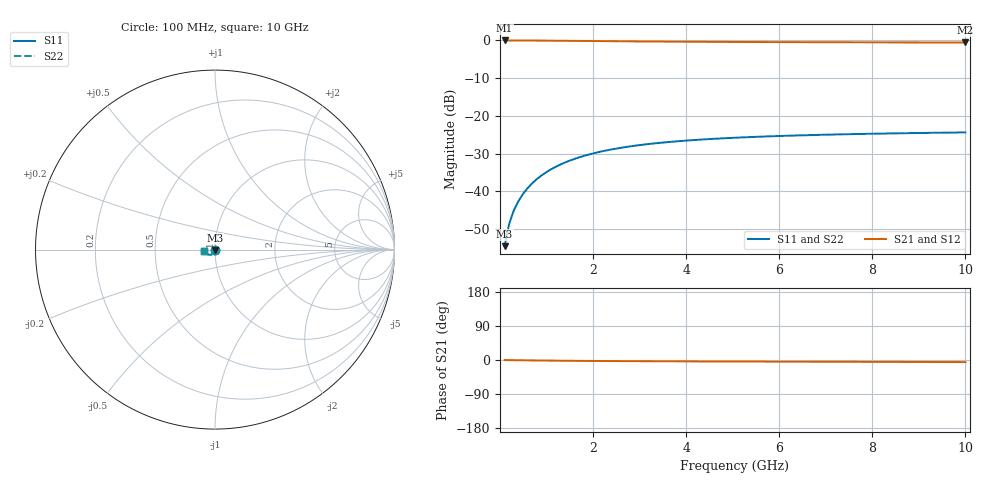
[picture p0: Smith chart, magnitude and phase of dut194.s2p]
! Touchstone file exported from HFSS 2024.1.0
!  File:  C:/UserFiles/LocalFiles/RDL_TSV_Batchsim/temp_TSV1_194_1778756929.aedt
!  Generated:  07:13:32 PM May 14, 2026
!  Design:  TSV1
!  Project:  temp_TSV1_194_1778756929
!  Setup:  Setup1
!  Solution:  Sweep
! Variables:
!  dtsv = 14.36um
!  hbump = 3um
!  htsv = 84.78um
!  lrdl = 252.1521522um
!  p = 40
!  p1 = 55.99um
!  t = 500um
!  trdl = 3um
!  wrdl = 24.89489489um
# GHz S MA R 50.000000
! Terminal data exported
! Port[1] = TSV22_T1
! Port[2] = TSV22_T2
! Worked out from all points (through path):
!   100 points, 100 MHz to 10 GHz, reference 50 ohm
!   highest |S21| = 0.00 dB at 100 MHz (marker M1); lowest = -0.5 dB at 10 GHz (marker M2)
!   lowest |S11| = -54.5 dB at 100 MHz (marker M3), VSWR 1.00, Z = 50 - j0.189 ohm
!   |S11| at or under -10 dB: start of sweep to end of sweep
!   |S22| runs from -54.5 to -24.4 dB; largest |S21 - S12| = 6.2e-15
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0.1  0.001887 -89.4  0.9998 -0.2  0.9998 -0.2  0.001887 -89.4
! Gamma 0 0 0 0
! Port Impedance 50 0 50 0
0.2  0.003772 -92.4  0.9996 -0.3  0.9996 -0.3  0.003772 -92.4
0.3  0.005652 -94.7  0.9993 -0.5  0.9993 -0.5  0.005652 -94.7
0.4  0.00752 -96.7  0.9989 -0.6  0.9989 -0.6  0.00752 -96.7
0.5  0.009366 -98.8  0.9983 -0.8  0.9983 -0.8  0.009366 -98.8
0.6  0.01118 -100.7  0.9976 -0.9  0.9976 -0.9  0.01118 -100.7
0.7  0.01297 -102.7  0.9969 -1.1  0.9969 -1.1  0.01297 -102.7
0.8  0.01471 -104.5  0.996 -1.2  0.996 -1.2  0.01471 -104.5
0.9  0.01642 -106.4  0.9951 -1.3  0.9951 -1.3  0.01642 -106.4
1.1  0.01969 -109.9  0.9931 -1.6  0.9931 -1.6  0.01969 -109.9
1.4  0.02423 -114.9  0.9897 -2.0  0.9897 -2.0  0.02423 -114.9
1.6  0.02699 -118.0  0.9873 -2.2  0.9873 -2.2  0.02699 -118.0
1.8  0.02955 -121.0  0.9848 -2.3  0.9848 -2.3  0.02955 -121.0
2.1  0.03302 -125.1  0.9811 -2.6  0.9811 -2.6  0.03302 -125.1
2.5  0.037 -130.0  0.9764 -2.9  0.9764 -2.9  0.037 -130.0
2.9  0.04036 -134.4  0.972 -3.1  0.972 -3.1  0.04036 -134.4
3.4  0.04384 -139.1  0.9671 -3.4  0.9671 -3.4  0.04384 -139.1
4.2  0.04813 -145.5  0.9606 -3.7  0.9606 -3.7  0.04813 -145.5
5.1  0.05166 -151.3  0.9549 -4.0  0.9549 -4.0  0.05166 -151.3
6.7  0.05588 -159.3  0.9478 -4.5  0.9478 -4.5  0.05588 -159.3
8.4  0.05873 -165.8  0.9428 -5.0  0.9428 -5.0  0.05873 -165.8
10  0.06057 -170.8  0.9396 -5.5  0.9396 -5.5  0.06057 -170.8
